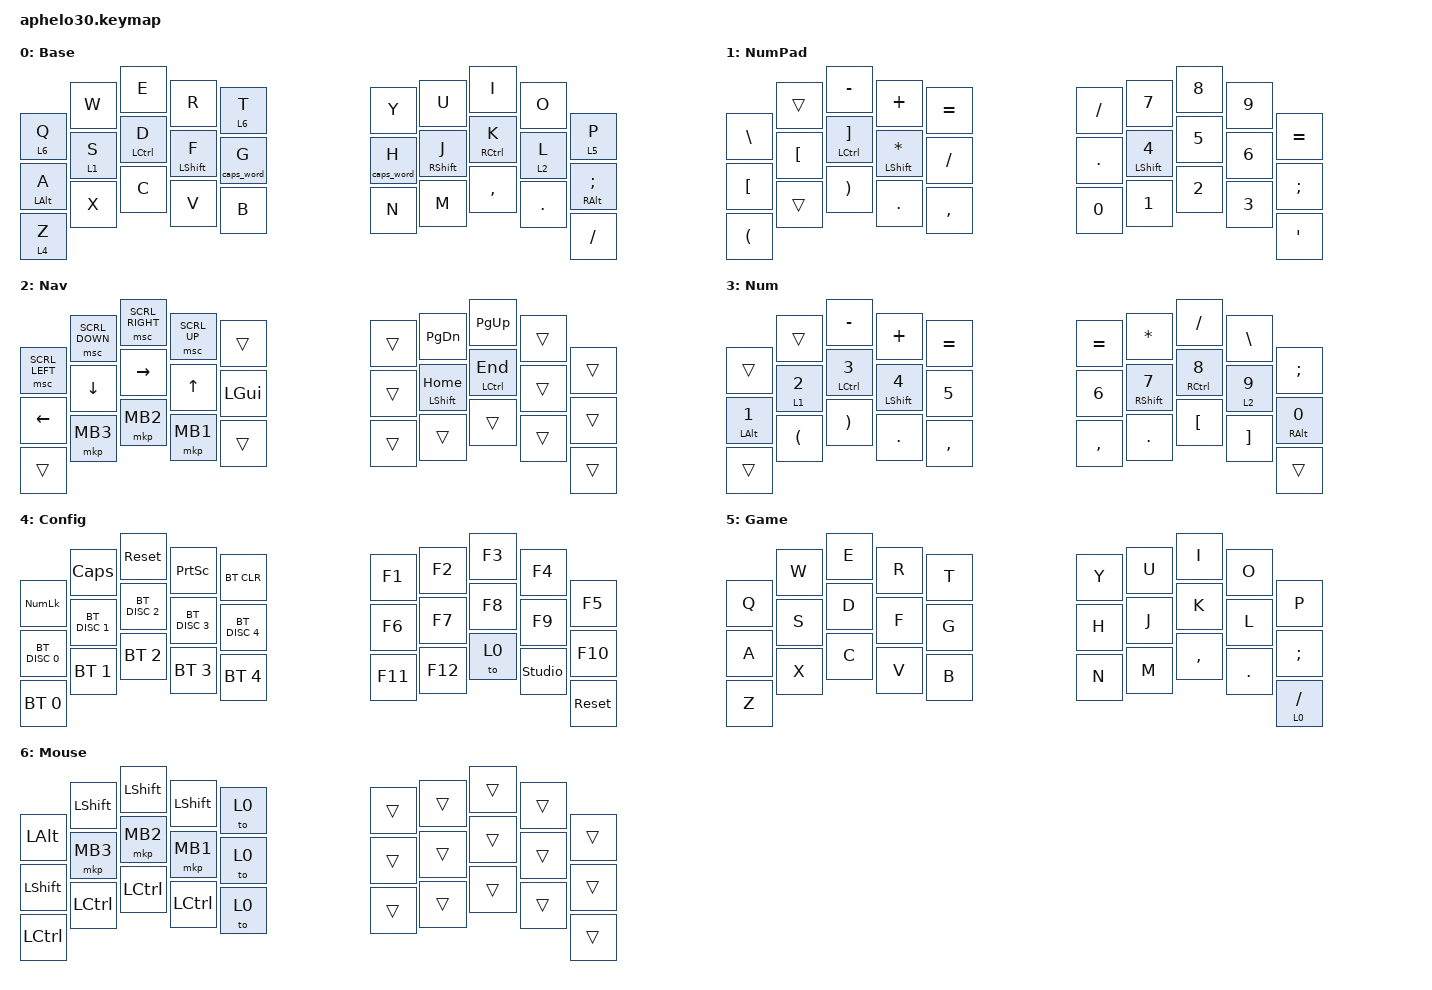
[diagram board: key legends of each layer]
#include <behaviors.dtsi>
#include <dt-bindings/zmk/bt.h>
#include <dt-bindings/zmk/keys.h>
#include <dt-bindings/zmk/pointing.h>

&mt {
    tapping-term-ms = <350>;
    flavor = "tap-preferred";
};

/ {
    combos {
        compatible = "zmk,combos";

        f2 {
            bindings = <&kp F2>;
            key-positions = <21 22>;
            require-prior-idle-ms = <50>;
            layers = <0 1 2 3>;
        };

        enter {
            bindings = <&kp ENTER>;
            key-positions = <11 12>;
            require-prior-idle-ms = <50>;
            layers = <0 1 2 3>;
        };

        space {
            bindings = <&kp SPACE>;
            key-positions = <17 18>;
            require-prior-idle-ms = <50>;
            layers = <0 1 3 2>;
        };

        tab {
            bindings = <&kp TAB>;
            key-positions = <28 27>;
            require-prior-idle-ms = <50>;
            layers = <0 1 2 3>;
        };

        backspace {
            bindings = <&kp BACKSPACE>;
            key-positions = <7 8>;
            require-prior-idle-ms = <50>;
            layers = <0 2 1 3>;
        };

        delete {
            bindings = <&kp DELETE>;
            key-positions = <2 1>;
            require-prior-idle-ms = <50>;
            layers = <0 1 2 3>;
        };

        escape {
            bindings = <&kp ESCAPE>;
            key-positions = <1 0>;
            require-prior-idle-ms = <50>;
            layers = <0 1 2 3>;
        };

        grave {
            bindings = <&kp GRAVE>;
            key-positions = <28 29>;
            require-prior-idle-ms = <50>;
            layers = <0 1 2 3>;
        };

        baselayer {
            bindings = <&to 0>;
            key-positions = <10 11>;
            require-prior-idle-ms = <200>;
            layers = <0 2 3 1 4>;
        };

        numlayer {
            bindings = <&to 3>;
            key-positions = <19 18>;
            require-prior-idle-ms = <200>;
            layers = <0 2 3 1 4>;
        };

        mouse1 {
            bindings = <&mkp LCLK>;
            key-positions = <13 12>;
            require-prior-idle-ms = <50>;
            layers = <0 1 2 3>;
        };

        mouse2 {
            bindings = <&mkp MB2>;
            key-positions = <3 2>;
            require-prior-idle-ms = <50>;
            layers = <0 1 2 3>;
        };

        mouse3 {
            bindings = <&mkp MB3>;
            key-positions = <23 22>;
            require-prior-idle-ms = <50>;
            layers = <0 1 2 3>;
        };
    };

    behaviors {
        layuh: layuh {
            compatible = "zmk,behavior-hold-tap";
            label = "LAYUH";
            bindings = <&to>, <&kp>;

            #binding-cells = <2>;
            tapping-term-ms = <500>;
            quick-tap-ms = <500>;
            require-prior-idle-ms = <500>;
            flavor = "tap-preferred";
        };

        layertap: layertap {
            compatible = "zmk,behavior-hold-tap";
            label = "LAYERTAP";
            bindings = <&mo>, <&kp>;

            #binding-cells = <2>;
            tapping-term-ms = <350>;
            flavor = "tap-preferred";
        };

        capshold: capshold {
            compatible = "zmk,behavior-hold-tap";
            label = "CAPSHOLD";
            bindings = <&caps_word>, <&kp>;

            #binding-cells = <2>;
            tapping-term-ms = <350>;
            flavor = "tap-preferred";
        };
    };

    keymap {
        compatible = "zmk,keymap";

        Base {
            display-name = "Base";
            bindings = <
&layuh 6 Q      &kp W          &kp E               &kp R             &layertap 6 T  &kp Y          &kp U              &kp I                &kp O          &layuh 5 P
&mt LEFT_ALT A  &layertap 1 S  &mt LEFT_CONTROL D  &mt LEFT_SHIFT F  &capshold 0 G  &capshold 0 H  &mt RIGHT_SHIFT J  &mt RIGHT_CONTROL K  &layertap 2 L  &mt RIGHT_ALT SEMICOLON
&layuh 4 Z      &kp X          &kp C               &kp V             &kp B          &kp N          &kp M              &kp COMMA            &kp DOT        &kp FSLH
            >;
        };

        NumPad {
            bindings = <
&kp BSLH              &trans    &kp MINUS                       &kp PLUS                 &kp EQUAL  &kp FSLH  &kp N7                   &kp N8  &kp N9  &kp EQUAL
&kp LBKT              &kp LBKT  &mt LEFT_CONTROL RIGHT_BRACKET  &mt LEFT_SHIFT ASTERISK  &kp FSLH   &kp DOT   &mt LEFT_SHIFT NUMBER_4  &kp N5  &kp N6  &kp SEMI
&kp LEFT_PARENTHESIS  &trans    &kp RIGHT_PARENTHESIS           &kp DOT                  &kp COMMA  &kp N0    &kp N1                   &kp N2  &kp N3  &kp SQT
            >;

            label = "NumPad";
        };

        Nav {
            bindings = <
&msc SCRL_LEFT  &msc SCRL_DOWN  &msc SCRL_RIGHT  &msc SCRL_UP  &trans    &trans  &kp PAGE_DOWN        &kp PG_UP             &trans  &trans
&kp LEFT        &kp DOWN        &kp RIGHT        &kp UP        &kp LGUI  &trans  &mt LEFT_SHIFT HOME  &mt LEFT_CONTROL END  &trans  &trans
&trans          &mkp MB3        &mkp MB2         &mkp MB1      &trans    &trans  &trans               &trans                &trans  &trans
            >;

            label = "Nav";
        };

        Num {
            bindings = <
&trans                 &trans                &kp MINUS                  &kp PLUS                 &kp EQUAL  &kp EQUAL  &kp STAR            &kp FSLH              &kp BSLH        &kp SEMI
&mt LEFT_ALT NUMBER_1  &layertap 1 NUMBER_2  &mt LEFT_CONTROL NUMBER_3  &mt LEFT_SHIFT NUMBER_4  &kp N5     &kp N6     &mt RIGHT_SHIFT N7  &mt RIGHT_CONTROL N8  &layertap 2 N9  &mt RIGHT_ALT N0
&trans                 &kp LEFT_PARENTHESIS  &kp RIGHT_PARENTHESIS      &kp DOT                  &kp COMMA  &kp COMMA  &kp DOT             &kp LBKT              &kp RBKT        &trans
            >;

            label = "Num";
        };

        Config {
            bindings = <
&kp KP_NUMLOCK  &kp CAPSLOCK   &sys_reset     &kp PRINTSCREEN  &bt BT_CLR     &kp F1   &kp F2   &kp F3  &kp F4          &kp F5
&bt BT_DISC 0   &bt BT_DISC 1  &bt BT_DISC 2  &bt BT_DISC 3    &bt BT_DISC 4  &kp F6   &kp F7   &kp F8  &kp F9          &kp F10
&bt BT_SEL 0    &bt BT_SEL 1   &bt BT_SEL 2   &bt BT_SEL 3     &bt BT_SEL 4   &kp F11  &kp F12  &to 0   &studio_unlock  &sys_reset
            >;

            label = "Config";
        };

        Game {
            bindings = <
&kp Q  &kp W  &kp E  &kp R  &kp T  &kp Y  &kp U  &kp I      &kp O    &kp P
&kp A  &kp S  &kp D  &kp F  &kp G  &kp H  &kp J  &kp K      &kp L    &kp SEMI
&kp Z  &kp X  &kp C  &kp V  &kp B  &kp N  &kp M  &kp COMMA  &kp DOT  &layuh 0 SLASH
            >;

            label = "Game";
        };

        Mouse {
            bindings = <
&kp LEFT_ALT      &kp LEFT_SHIFT    &kp LSHFT  &kp LSHFT  &to 0  &trans  &trans  &trans  &trans  &trans
&kp LEFT_SHIFT    &mkp MB3          &mkp MB2   &mkp MB1   &to 0  &trans  &trans  &trans  &trans  &trans
&kp LEFT_CONTROL  &kp LEFT_CONTROL  &kp LCTRL  &kp LCTRL  &to 0  &trans  &trans  &trans  &trans  &trans
            >;

            label = "Mouse";
        };
    };
};
